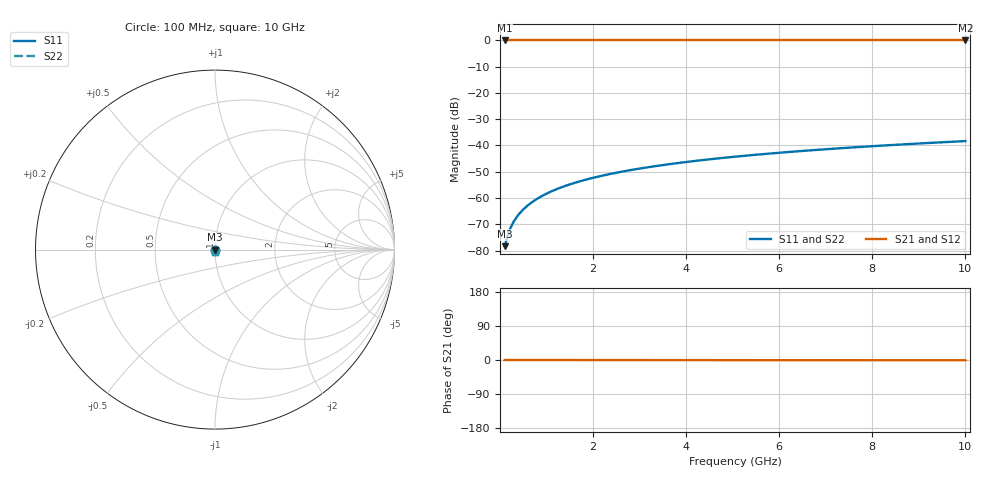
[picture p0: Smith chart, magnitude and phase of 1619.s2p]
# Hz S RI R 50.00
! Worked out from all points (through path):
!   100 points, 100 MHz to 10 GHz, reference 50 ohm
!   highest |S21| = 0.00 dB at 100 MHz (marker M1); lowest = 0.0 dB at 10 GHz (marker M2)
!   lowest |S11| = -78.3 dB at 100 MHz (marker M3), VSWR 1.00, Z = 50 - j0.0121 ohm
!   |S11| at or under -10 dB: start of sweep to end of sweep
!   |S22| runs from -78.3 to -38.3 dB; largest |S21 - S12| = 0
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1e8  -1.39e-07 -0.000121  1 -0.000124  1 -0.000124  -1.39e-07 -0.000121
2e8  -3.02e-07 -0.000242  1 -0.000249  1 -0.000249  -3.02e-07 -0.000242
3e8  -4.96e-07 -0.000363  1 -0.000373  1 -0.000373  -4.96e-07 -0.000363
4e8  -7.21e-07 -0.000484  1 -0.000497  1 -0.000497  -7.21e-07 -0.000484
5e8  -9.76e-07 -0.000605  1 -0.000622  1 -0.000622  -9.76e-07 -0.000605
6e8  -1.26e-06 -0.000726  1 -0.000746  1 -0.000746  -1.26e-06 -0.000726
7e8  -1.58e-06 -0.000847  1 -0.00087  1 -0.00087  -1.58e-06 -0.000847
8e8  -1.92e-06 -0.000968  1 -0.000995  1 -0.000995  -1.92e-06 -0.000968
9e8  -2.3e-06 -0.00109  1 -0.00112  1 -0.00112  -2.3e-06 -0.00109
1.1e9  -3.14e-06 -0.00133  1 -0.00137  1 -0.00137  -3.14e-06 -0.00133
1.4e9  -4.63e-06 -0.00169  1 -0.00174  1 -0.00174  -4.63e-06 -0.00169
1.8e9  -7.04e-06 -0.00218  1 -0.00224  1 -0.00224  -7.04e-06 -0.00218
2.1e9  -9.16e-06 -0.00254  1 -0.00261  1 -0.00261  -9.16e-06 -0.00254
2.5e9  -1.24e-05 -0.00303  1 -0.00311  1 -0.00311  -1.24e-05 -0.00303
2.9e9  -1.62e-05 -0.00351  1 -0.00361  1 -0.00361  -1.62e-05 -0.00351
3.4e9  -2.15e-05 -0.00412  1 -0.00423  1 -0.00423  -2.15e-05 -0.00412
4.2e9  -3.17e-05 -0.00509  1 -0.00523  1 -0.00523  -3.17e-05 -0.00509
5.1e9  -4.54e-05 -0.00618  1 -0.00635  1 -0.00635  -4.54e-05 -0.00618
5.9e9  -5.96e-05 -0.00715  0.9999 -0.00735  0.9999 -0.00735  -5.96e-05 -0.00715
6.7e9  -7.58e-05 -0.00812  0.9999 -0.00834  0.9999 -0.00834  -7.58e-05 -0.00812
8.4e9  -0.000117 -0.0102  0.9999 -0.0105  0.9999 -0.0105  -0.000117 -0.0102
1e10  -0.000163 -0.0121  0.9998 -0.0125  0.9998 -0.0125  -0.000163 -0.0121
